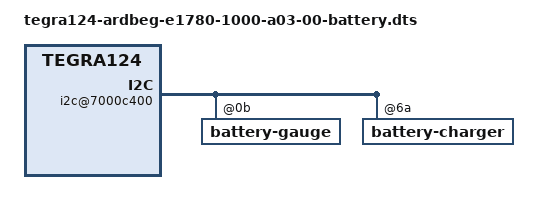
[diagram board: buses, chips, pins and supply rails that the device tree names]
#include "tegra124-ardbeg-e1780-1000-a03-00.dts"

/ {
	nvidia,dtsfilename = __FILE__;

	i2c@7000c400 {
		battery-gauge@0b {
			status = "okay";
		};
		battery-charger@6a {
			status = "okay";
		};
	};
};
